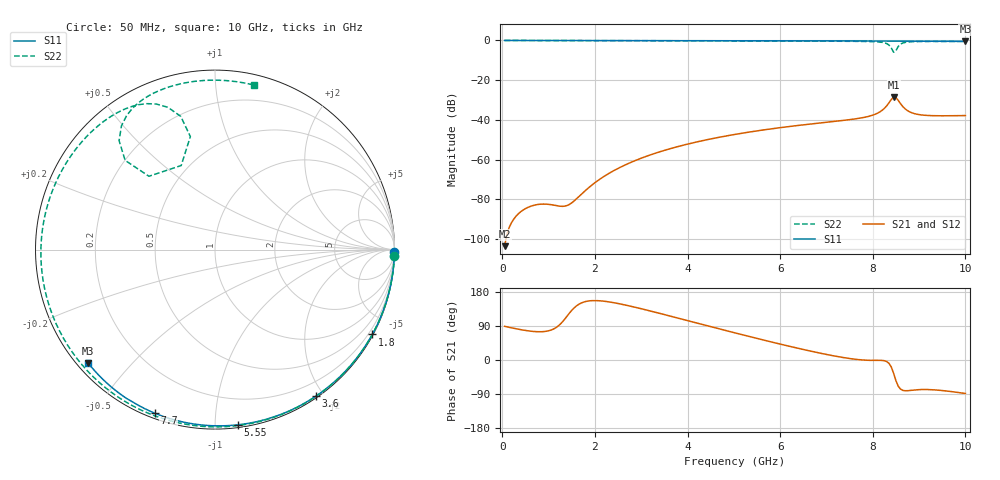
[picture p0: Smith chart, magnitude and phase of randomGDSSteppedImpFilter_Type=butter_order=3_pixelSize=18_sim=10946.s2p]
! freq	dB(S11)	phase(S11)	dB(S12)	phase(S12)
!  dB(S21)	phase(S21)	dB(S22)	phase(S22)
!S-par simulation data
#  GHz  S  DB  R 50
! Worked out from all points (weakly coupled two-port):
!   200 points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, 50 MHz to 10 GHz, reference 50 ohm
!   highest |S21| = -28.54 dB at 8.45 GHz (marker M1); lowest = -103.6 dB at 50 MHz (marker M2)
!   lowest |S11| = -0.5 dB at 10 GHz (marker M3), VSWR 37.35, Z = 1.53 - j19 ohm
!   |S11| at or under -10 dB: nowhere
!   |S22| runs from -5.9 to 0.0 dB; largest |S21 - S12| = 0
!   S11 on the Smith chart (normalised r, x): 50 MHz: open; 1.8 GHz: 0.03, -3.96; 3.6 GHz: 0.02, -1.91; 5.55 GHz: 0.02, -1.14; 7.7 GHz: 0.02, -0.70; 10 GHz: 0.03, -0.38
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0.05  -0.00 -0.8  -103.61 88.9  -103.61 88.9  -0.00 -1.9
0.75  -0.02 -11.9  -82.68 74.7  -82.68 74.7  -0.04 -27.9
1.55  -0.03 -24.5  -80.85 137.3  -80.85 137.3  -0.07 -56.3
1.75  -0.04 -27.6  -76.54 152.5  -76.54 152.5  -0.08 -63.1
1.8  -0.04 -28.4  -75.49 154.3  -75.49 154.3  -0.08 -64.8
2.45  -0.05 -38.3  -65.04 150.3  -65.04 150.3  -0.10 -85.8
3.4  -0.07 -52.5  -56.08 123.0  -56.08 123.0  -0.14 -113.9
3.6  -0.07 -55.4  -54.68 116.7  -54.68 116.7  -0.14 -119.5
5.05  -0.12 -75.9  -47.21 70.8  -47.21 70.8  -0.21 -157.3
5.55  -0.14 -82.6  -45.37 55.4  -45.37 55.4  -0.24 -169.8
6.7  -0.19 -97.7  -41.98 22.3  -41.98 22.3  -0.32 161.5
7.7  -0.25 -110.3  -39.22 0.9  -39.22 0.9  -0.45 134.3
8.1  -0.29 -115.2  -36.66 -0.9  -36.66 -0.9  -0.70 120.1
8.35  -0.31 -118.3  -31.40 -8.8  -31.40 -8.8  -2.31 104.4
8.4  -0.31 -118.9  -29.72 -18.5  -29.72 -18.5  -3.81 102.3
8.45  -0.31 -119.4  -28.54 -35.0  -28.54 -35.0  -5.94 111.9
8.5  -0.31 -120.0  -28.76 -54.7  -28.76 -54.7  -5.19 132.0
8.55  -0.31 -120.7  -30.19 -69.2  -30.19 -69.2  -3.03 135.2
8.6  -0.32 -121.3  -31.87 -76.9  -31.87 -76.9  -1.84 131.4
8.75  -0.33 -123.2  -35.34 -81.0  -35.34 -81.0  -0.81 120.4
9  -0.36 -126.2  -37.36 -78.2  -37.36 -78.2  -0.55 109.1
10  -0.47 -138.3  -37.82 -88.3  -37.82 -88.3  -0.52 76.8
